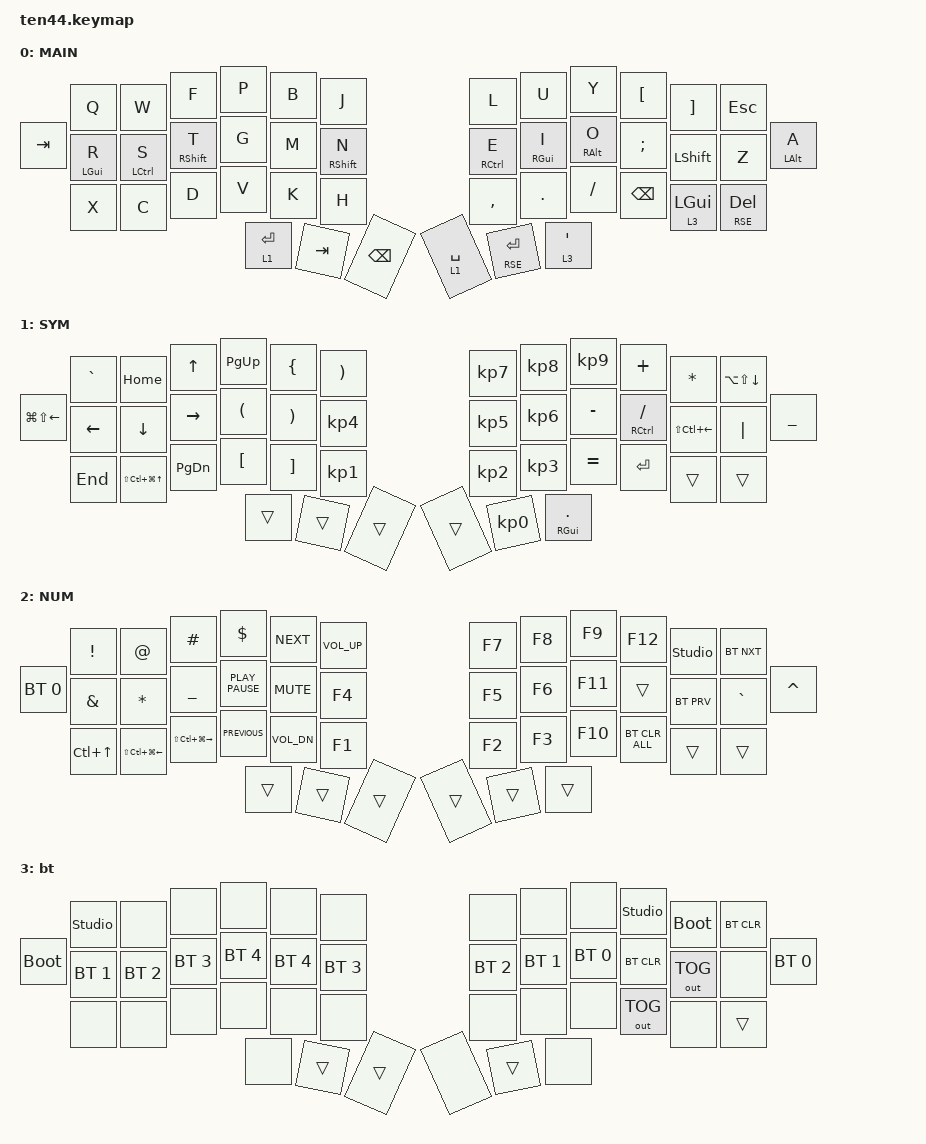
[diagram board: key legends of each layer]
/*
 * Copyright (c) 2020 The ZMK Contributors
 *
 * SPDX-License-Identifier: MIT
 */

#include <behaviors.dtsi>
#include <dt-bindings/zmk/bt.h>
#include <dt-bindings/zmk/keys.h>
#include <dt-bindings/zmk/outputs.h>

#define DEF 0
#define LWR 1
#define RSE 2
#define ADJ 3

&lt { quick-tap-ms = <200>; };

&mt { quick-tap-ms = <200>; };

/ {
    conditional_layers {
        compatible = "zmk,conditional-layers";

        tri_layer {
            if-layers = <LWR RSE>;
            then-layer = <ADJ>;
        };
    };

    combos {
        compatible = "zmk,combos";

        dev {
            bindings = <&dev>;
            key-positions = <28 29>;
            layers = <2>;
        };

        commit {
            bindings = <&commit>;
            key-positions = <16 17>;
            layers = <2>;
        };

        screenshot1 {
            bindings = <&kp LG(NUMBER_4)>;
            key-positions = <2 3>;
            layers = <2>;
        };

        screenshot2 {
            bindings = <&kp LG(NUMBER_5)>;
            key-positions = <26 27>;
            layers = <1>;
        };

        cap {
            bindings = <&kp CAPS>;
            key-positions = <17 18>;
        };
    };

    macros {
        dev: dev {
            compatible = "zmk,behavior-macro";
            #binding-cells = <0>;
            bindings =
                <&macro_tap>,
                <&kp G &kp I &kp T &kp SPACE &kp C &kp H &kp E &kp C &kp K &kp O &kp U &kp T &kp SPACE &kp D &kp E &kp V &kp SEMI>;

            label = "DEV";
        };

        commit: commit {
            compatible = "zmk,behavior-macro";
            #binding-cells = <0>;
            bindings =
                <&macro_tap>,
                <&kp G &kp I &kp T &kp SPACE &kp A &kp D &kp D &kp SEMI &kp SPACE &kp G &kp I &kp T &kp SPACE &kp C &kp O &kp M &kp M &kp I &kp T &kp SPACE &kp MINUS &kp M &kp SPACE &kp SQT>;

            label = "COMMIT";
        };
    };

    keymap {
        compatible = "zmk,keymap";

        default_layer {
            display-name = "MAIN";

            // ┏━━━━━━━━━━━┳━━━━━━━━━━━┳━━━━━━━━━━━┳━━━━━━━━━━━┳━━━━━━━━━━━┓━━━━━━━━━━━┓                              ┏━━━━━━━━━━━┳━━━━━━━━━━━┳━━━━━━━━━━━┳━━━━━━━━━━━┳━━━━━━━━━━━┳━━━━━━━━━━━┓
            // ┃     TAB   ┃     Q     ┃     W     ┃     F     ┃     P     ┃     B     ┃                              ┃     J     ┃     L     ┃     U     ┃     Y     ┃     [     ┃    ]      ┃
            // ┣━━━━━━━━━━━╋━━━━━━━━━━━╋━━━━━━━━━━━╋━━━━━━━━━━━╋━━━━━━━━━━━┫━━━━━━━━━━━┫                              ┣━━━━━━━━━━━╋━━━━━━━━━━━╋━━━━━━━━━━━╋━━━━━━━━━━━╋━━━━━━━━━━━╋━━━━━━━━━━━┫
            // ┃     ESC   ┃     A     ┃     R     ┃     S     ┃     T     ┃     G     ┃                              ┃     H     ┃     N     ┃     E     ┃     I     ┃     O     ┃    ;      ┃
            // ┣━━━━━━━━━━━╋━━━━━━━━━━━╋━━━━━━━━━━━╋━━━━━━━━━━━╋━━━━━━━━━━━╋━━━━━━━━━━━┫                              ┣━━━━━━━━━━━╋━━━━━━━━━━━╋━━━━━━━━━━━╋━━━━━━━━━━━╋━━━━━━━━━━━╋━━━━━━━━━━━┫
            // ┃  L_SHIFT  ┃     Z     ┃     X     ┃     C     ┃     D     ┃     V     ┃                              ┃     K     ┃     M     ┃     ,     ┃     .     ┃     /     ┃   BKSPC   ┃
            // ┗━━━━━━━━━━━┻━━━━━━━━━━━╋━━━━━━━━━━━╋━━━━━━━━━━━╋━━━━━━━━━━━╋━━━━━━━━━━━╋━━━━━━━━━━━┓      ┏━━━━━━━━━━━╋━━━━━━━━━━━╋━━━━━━━━━━━╋━━━━━━━━━━━╋━━━━━━━━━━━╋━━━━━━━━━━━┻━━━━━━━━━━━┛
            //                         ┃    ⌘/L3   ┃           ┃   DEL/L2  ┃    ENT/⌘  ┃   TAB/L1  ┃      ┃  BKSPC/L1 ┃ SPC/R_SHFT┃   ENT/L2  ┃           ┃     '     ┃  
            //                         ┗━━━━━━━━━━━┛           ┗━━━━━━━━━━━┻━━━━━━━━━━━┻━━━━━━━━━━━┛      ┗━━━━━━━━━━━┻━━━━━━━━━━━┻━━━━━━━━━━━┛           ┗━━━━━━━━━━━┛    

            bindings = <
&kp TAB     &kp Q           &kp W           &kp F        &kp P              &kp B      &kp J          &kp L         &kp U          &kp Y               &kp LEFT_BRACKET  &kp RIGHT_BRACKET
&kp ESC     &mt LEFT_ALT A  &mt LGUI R      &mt LCTRL S  &mt RIGHT_SHIFT T  &kp G      &kp M          &mt RSHIFT N  &mt RCTRL E    &mt RIGHT_GUI I     &mt RIGHT_ALT O   &kp SEMICOLON
&kp LSHIFT  &kp Z           &kp X           &kp C        &kp D              &kp V      &kp K          &kp H         &kp COMMA      &kp DOT             &kp FSLH          &kp BACKSPACE
                            &lt 3 LEFT_GUI  &lt RSE DEL  &lt 1 ENTER        &kp TAB    &kp BACKSPACE  &lt 1 SPACE   &lt RSE ENTER  &lt 3 SINGLE_QUOTE
            >;
        };

        lower_layer {
            display-name = "SYM";

            // SL=Select Line;
            // FL=Full Screen;
            // ┏━━━━━━━━━━━┳━━━━━━━━━━━┳━━━━━━━━━━━┳━━━━━━━━━━━┳━━━━━━━━━━━┓━━━━━━━━━━━┓                              ┏━━━━━━━━━━━┳━━━━━━━━━━━┳━━━━━━━━━━━┳━━━━━━━━━━━┳━━━━━━━━━━━┳━━━━━━━━━━━┓
            // ┃  SL_Left  ┃     `     ┃    HOME   ┃     UP    ┃   PG_UP   ┃     {     ┃                              ┃     }     ┃     7     ┃     8     ┃     9     ┃     +     ┃    *      ┃
            // ┣━━━━━━━━━━━╋━━━━━━━━━━━╋━━━━━━━━━━━╋━━━━━━━━━━━╋━━━━━━━━━━━┫━━━━━━━━━━━┫                              ┣━━━━━━━━━━━╋━━━━━━━━━━━╋━━━━━━━━━━━╋━━━━━━━━━━━╋━━━━━━━━━━━╋━━━━━━━━━━━┫
            // ┃  SL_Down  ┃     _     ┃    LEFT   ┃    DOWN   ┃   RIGHT   ┃     (     ┃                              ┃     )     ┃     4     ┃     5     ┃     6     ┃     -     ┃    /      ┃
            // ┣━━━━━━━━━━━╋━━━━━━━━━━━╋━━━━━━━━━━━╋━━━━━━━━━━━╋━━━━━━━━━━━╋━━━━━━━━━━━┫                              ┣━━━━━━━━━━━╋━━━━━━━━━━━╋━━━━━━━━━━━╋━━━━━━━━━━━╋━━━━━━━━━━━╋━━━━━━━━━━━┫
            // ┃  SL_Right ┃     |     ┃    END    ┃     FS    ┃   PG_DN   ┃     [     ┃                              ┃     ]     ┃     1     ┃     2     ┃     3     ┃     =     ┃           ┃
            // ┗━━━━━━━━━━━┻━━━━━━━━━━━╋━━━━━━━━━━━╋━━━━━━━━━━━╋━━━━━━━━━━━╋━━━━━━━━━━━╋━━━━━━━━━━━┓      ┏━━━━━━━━━━━╋━━━━━━━━━━━╋━━━━━━━━━━━╋━━━━━━━━━━━╋━━━━━━━━━━━╋━━━━━━━━━━━┻━━━━━━━━━━━┛
            //                         ┃           ┃           ┃           ┃           ┃           ┃      ┃           ┃           ┃     0     ┃           ┃     .     ┃  
            //                         ┗━━━━━━━━━━━┛           ┗━━━━━━━━━━━┻━━━━━━━━━━━┻━━━━━━━━━━━┛      ┗━━━━━━━━━━━┻━━━━━━━━━━━┻━━━━━━━━━━━┛           ┗━━━━━━━━━━━┛    

            bindings = <
&kp LG(LS(LEFT))  &kp GRAVE       &kp HOME  &kp UP              &kp PAGE_UP    &kp LEFT_BRACE          &kp RIGHT_PARENTHESIS  &kp KP_N7        &kp KP_N8        &kp KP_NUMBER_9  &kp PLUS   &kp ASTERISK
&kp LA(LS(DOWN))  &kp UNDERSCORE  &kp LEFT  &kp DOWN            &kp RIGHT      &kp LEFT_PARENTHESIS    &kp RIGHT_PARENTHESIS  &kp KP_NUMBER_4  &kp KP_NUMBER_5  &kp KP_NUMBER_6  &kp MINUS  &mt RCTRL FSLH
&kp LS(LC(LEFT))  &kp PIPE        &kp END   &kp LS(LC(LG(UP)))  &kp PAGE_DOWN  &kp LEFT_BRACKET        &kp RIGHT_BRACKET      &kp KP_NUMBER_1  &kp KP_NUMBER_2  &kp KP_NUMBER_3  &kp EQUAL  &kp ENTER
                                  &trans    &trans              &trans         &trans                  &trans                 &trans           &kp KP_NUMBER_0  &mt RGUI PERIOD
            >;
        };

        raise_layer {
            display-name = "NUM";

            // ST=Screen Tab;
            // SS=Split Screen;
            // ┏━━━━━━━━━━━┳━━━━━━━━━━━┳━━━━━━━━━━━┳━━━━━━━━━━━┳━━━━━━━━━━━┓━━━━━━━━━━━┓                              ┏━━━━━━━━━━━┳━━━━━━━━━━━┳━━━━━━━━━━━┳━━━━━━━━━━━┳━━━━━━━━━━━┳━━━━━━━━━━━┓
            // ┃           ┃     !     ┃      @    ┃      #    ┃     $     ┃     >>    ┃                              ┃  VOL_UP   ┃     F7    ┃     F8    ┃     F9    ┃     F10   ┃    *      ┃
            // ┣━━━━━━━━━━━╋━━━━━━━━━━━╋━━━━━━━━━━━╋━━━━━━━━━━━╋━━━━━━━━━━━┫━━━━━━━━━━━┫                              ┣━━━━━━━━━━━╋━━━━━━━━━━━╋━━━━━━━━━━━╋━━━━━━━━━━━╋━━━━━━━━━━━╋━━━━━━━━━━━┫
            // ┃           ┃     ^     ┃      &    ┃      *    ┃     _     ┃ Play/Pause┃                              ┃   MUTE    ┃     F4    ┃     F5    ┃     F6    ┃     F11   ┃    /      ┃
            // ┣━━━━━━━━━━━╋━━━━━━━━━━━╋━━━━━━━━━━━╋━━━━━━━━━━━╋━━━━━━━━━━━╋━━━━━━━━━━━┫                              ┣━━━━━━━━━━━╋━━━━━━━━━━━╋━━━━━━━━━━━╋━━━━━━━━━━━╋━━━━━━━━━━━╋━━━━━━━━━━━┫
            // ┃           ┃     `     ┃     ST    ┃  SS_Left  ┃ SS_Right  ┃    <<     ┃                              ┃   VOL_DN  ┃     F1    ┃     F2    ┃     F3    ┃     F12   ┃           ┃
            // ┗━━━━━━━━━━━┻━━━━━━━━━━━╋━━━━━━━━━━━╋━━━━━━━━━━━╋━━━━━━━━━━━╋━━━━━━━━━━━╋━━━━━━━━━━━┓      ┏━━━━━━━━━━━╋━━━━━━━━━━━╋━━━━━━━━━━━╋━━━━━━━━━━━╋━━━━━━━━━━━╋━━━━━━━━━━━┻━━━━━━━━━━━┛
            //                         ┃           ┃           ┃           ┃           ┃           ┃      ┃           ┃           ┃           ┃           ┃           ┃  
            //                         ┗━━━━━━━━━━━┛           ┗━━━━━━━━━━━┻━━━━━━━━━━━┻━━━━━━━━━━━┛      ┗━━━━━━━━━━━┻━━━━━━━━━━━┻━━━━━━━━━━━┛           ┗━━━━━━━━━━━┛    

            bindings = <
&bt BT_SEL 0  &kp EXCLAMATION  &kp AT_SIGN    &kp HASH              &kp DOLLAR             &kp C_NEXT          &kp C_VOL_UP  &kp F7  &kp F8  &kp F9  &kp F12  &studio_unlock
&bt BT_NXT    &kp CARET        &kp AMPERSAND  &kp ASTERISK          &kp UNDERSCORE         &kp K_PLAY_PAUSE    &kp C_MUTE    &kp F4  &kp F5  &kp F6  &kp F11  &trans
&bt BT_PRV    &kp GRAVE        &kp LC(UP)     &kp LS(LC(LG(LEFT)))  &kp LS(LC(LG(RIGHT)))  &kp K_PREVIOUS      &kp C_VOL_DN  &kp F1  &kp F2  &kp F3  &kp F10  &bt BT_CLR_ALL
                               &trans         &trans                &trans                 &trans              &trans        &trans  &trans  &trans
            >;
        };

        bluetooth {
            display-name = "bt";

            // ┏━━━━━━━━━━━┳━━━━━━━━━━━┳━━━━━━━━━━━┳━━━━━━━━━━━┳━━━━━━━━━━━┓━━━━━━━━━━━┓                              ┏━━━━━━━━━━━┳━━━━━━━━━━━┳━━━━━━━━━━━┳━━━━━━━━━━━┳━━━━━━━━━━━┳━━━━━━━━━━━┓
            // ┃Bootloader ┃StdoUnlock ┃           ┃           ┃           ┃           ┃                              ┃           ┃           ┃           ┃           ┃StdoUnlock ┃ Bootloader┃
            // ┣━━━━━━━━━━━╋━━━━━━━━━━━╋━━━━━━━━━━━╋━━━━━━━━━━━╋━━━━━━━━━━━┫━━━━━━━━━━━┫                              ┣━━━━━━━━━━━╋━━━━━━━━━━━╋━━━━━━━━━━━╋━━━━━━━━━━━╋━━━━━━━━━━━╋━━━━━━━━━━━┫
            // ┃   BT_CL   ┃     BT0   ┃     BT1   ┃    BT2    ┃    BT3    ┃    BT4    ┃                              ┃    BT4    ┃    BT3    ┃    BT2    ┃    BT1    ┃     BT0   ┃   BT_CLR  ┃
            // ┣━━━━━━━━━━━╋━━━━━━━━━━━╋━━━━━━━━━━━╋━━━━━━━━━━━╋━━━━━━━━━━━╋━━━━━━━━━━━┫                              ┣━━━━━━━━━━━╋━━━━━━━━━━━╋━━━━━━━━━━━╋━━━━━━━━━━━╋━━━━━━━━━━━╋━━━━━━━━━━━┫
            // ┃ SWITCH OUT┃           ┃           ┃           ┃           ┃           ┃                              ┃           ┃           ┃           ┃           ┃           ┃ SWITCH OUT┃
            // ┗━━━━━━━━━━━┻━━━━━━━━━━━╋━━━━━━━━━━━╋━━━━━━━━━━━╋━━━━━━━━━━━╋━━━━━━━━━━━╋━━━━━━━━━━━┓      ┏━━━━━━━━━━━╋━━━━━━━━━━━╋━━━━━━━━━━━╋━━━━━━━━━━━╋━━━━━━━━━━━╋━━━━━━━━━━━┻━━━━━━━━━━━┛
            //                         ┃           ┃           ┃           ┃           ┃           ┃      ┃           ┃           ┃           ┃           ┃           ┃  
            //                         ┗━━━━━━━━━━━┛           ┗━━━━━━━━━━━┻━━━━━━━━━━━┻━━━━━━━━━━━┛      ┗━━━━━━━━━━━┻━━━━━━━━━━━┻━━━━━━━━━━━┛           ┗━━━━━━━━━━━┛    

            bindings = <
&bootloader   &studio_unlock  &none         &none         &none         &none           &none         &none         &none         &none         &studio_unlock  &bootloader
&bt BT_CLR    &bt BT_SEL 0    &bt BT_SEL 1  &bt BT_SEL 2  &bt BT_SEL 3  &bt BT_SEL 4    &bt BT_SEL 4  &bt BT_SEL 3  &bt BT_SEL 2  &bt BT_SEL 1  &bt BT_SEL 0    &bt BT_CLR
&out OUT_TOG  &none           &none         &none         &none         &none           &none         &none         &none         &none         &none           &out OUT_TOG
                              &none         &trans        &none         &trans          &trans        &none         &trans        &none
            >;
        };

        extra1 { status = "reserved"; };

        extra2 { status = "reserved"; };

        extra3 { status = "reserved"; };
    };
};
